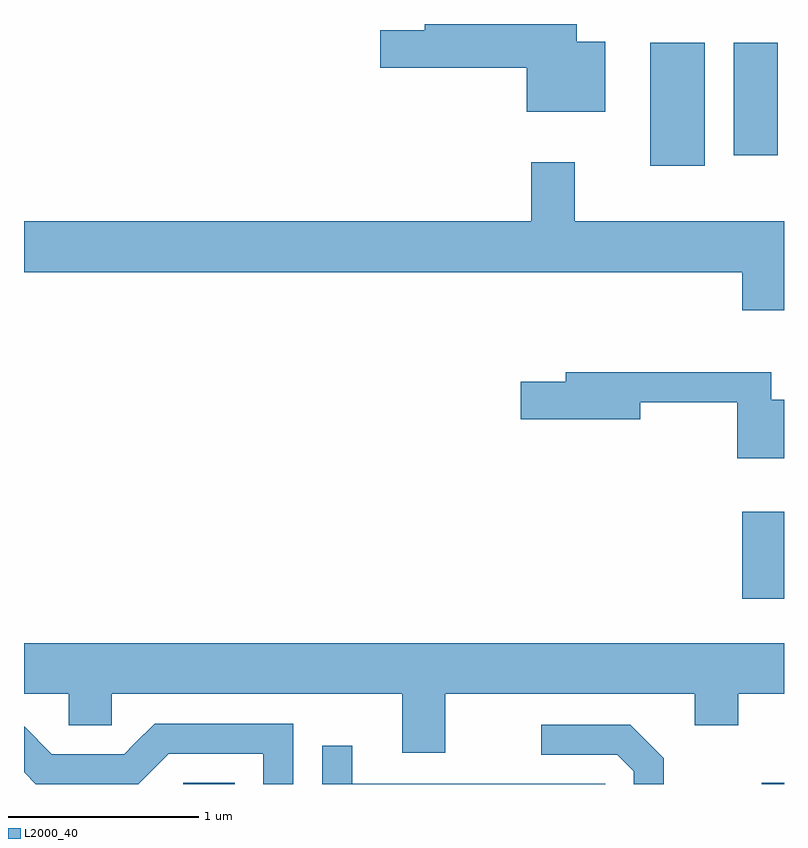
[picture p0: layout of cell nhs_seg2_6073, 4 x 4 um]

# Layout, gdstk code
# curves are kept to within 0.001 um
import gdstk
lib = gdstk.Library(unit=1e-6, precision=1e-09)
def R(c, l, rs):  # rectangles x0, y0, x1, y1
    for r in rs: c.add(gdstk.rectangle(r[:2], r[2:], *l))
def P(c, l, *ps):  # polygons
    for p in ps: c.add(gdstk.Polygon(p, *l))
L2000_40 = (2000, 40)

nhs_seg2_6073 = lib.new_cell('nhs_seg2_6073')
R(nhs_seg2_6073, L2000_40, [(364.448,1087.802,364.719,1087.809), (367.493,1087.802,367.611,1087.809), (367.391,1088.776,367.611,1089.234), (366.906,1091.056,367.194,1091.704), (367.346,1091.111,367.579,1091.704)])
P(nhs_seg2_6073, L2000_40, [(366.669,1091.709),(366.519,1091.709),(366.519,1091.802),(365.721,1091.802),(365.721,1091.769),(365.486,1091.769),(365.486,1091.571),(366.256,1091.571),(366.256,1091.341),(366.669,1091.341)],
  [(367.611,1090.764),(366.509,1090.764),(366.509,1091.074),(366.281,1091.074),(366.281,1090.764),(363.611,1090.764),(363.611,1090.496),(367.391,1090.496),(367.391,1090.296),(367.611,1090.296)],
  [(367.611,1089.824),(367.544,1089.824),(367.544,1089.969),(366.461,1089.969),(366.461,1089.919),(366.226,1089.919),(366.226,1089.721),(366.854,1089.721),(366.854,1089.811),(367.366,1089.811),(367.366,1089.516),(367.611,1089.516)],
  [(365.829,1088.276),(367.141,1088.276),(367.141,1088.111),(367.369,1088.111),(367.369,1088.276),(367.611,1088.276),(367.611,1088.544),(363.611,1088.544),(363.611,1088.276),(363.846,1088.276),(363.846,1088.111),(364.074,1088.111),(364.074,1088.276),(365.601,1088.276),(365.601,1087.966),(365.829,1087.966)],
  [(364.372,1087.961),(364.871,1087.961),(364.871,1087.802),(365.029,1087.802),(365.029,1088.119),(364.299,1088.119),(364.139,1087.959),(363.757,1087.959),(363.611,1088.105),(363.611,1087.864),(363.673,1087.802),(364.213,1087.802)],
  [(366.979,1087.937),(366.802,1088.114),(366.333,1088.114),(366.333,1087.956),(366.734,1087.956),(366.821,1087.869),(366.821,1087.802),(366.979,1087.802)],
  [(366.669,1087.804),(365.339,1087.804),(365.339,1088.003),(365.181,1088.003),(365.181,1087.802),(366.669,1087.802)])

lib.write_gds('nhs_seg2_6073.gds')
